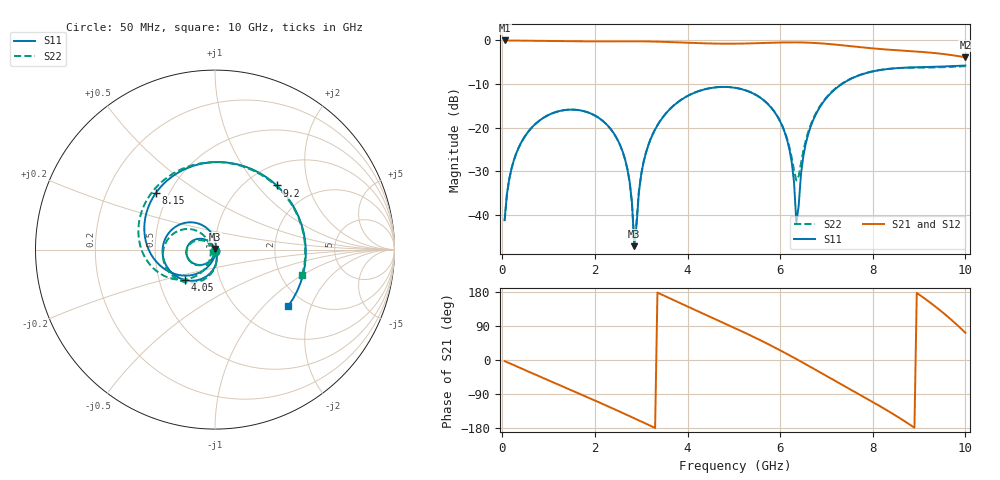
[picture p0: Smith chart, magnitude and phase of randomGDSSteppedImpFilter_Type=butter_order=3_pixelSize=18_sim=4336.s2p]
! freq	dB(S11)	phase(S11)	dB(S12)	phase(S12)
!  dB(S21)	phase(S21)	dB(S22)	phase(S22)
!S-par simulation data
#  GHz  S  DB  R 50
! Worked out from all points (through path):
!   200 points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, 50 MHz to 10 GHz, reference 50 ohm
!   highest |S21| = 0.00 dB at 50 MHz (marker M1); lowest = -3.9 dB at 10 GHz (marker M2)
!   group delay of S21, straight-line fit = 172 ps
!   lowest |S11| = -47.2 dB at 2.85 GHz (marker M3), VSWR 1.01, Z = 50.2 + j0.393 ohm
!   |S11| at or under -10 dB: start of sweep to 7.335 GHz
!   |S22| runs from -46.0 to -5.9 dB; largest |S21 - S12| = 0
!   S11 on the Smith chart (normalised r, x): 50 MHz: 1.00, -0.02; 4.05 GHz: 0.68, -0.24; 8.15 GHz: 0.42, +0.34; 9.2 GHz: 1.35, +1.28; 10 GHz: 1.63, -1.40
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0.05  -41.27 -92.1  -0.00 -2.8  -0.00 -2.8  -41.42 -90.4
0.2  -29.39 -100.9  -0.02 -10.9  -0.02 -10.9  -29.39 -100.7
0.5  -21.84 -118.0  -0.07 -27.1  -0.07 -27.1  -21.84 -117.1
1.75  -16.21 174.1  -0.21 -93.6  -0.21 -93.6  -16.21 177.4
2.6  -25.56 125.6  -0.18 -139.8  -0.18 -139.8  -25.60 134.6
2.75  -32.46 114.1  -0.18 -148.2  -0.18 -148.2  -32.52 131.1
2.85  -47.24 64.3  -0.19 -153.8  -0.19 -153.8  -45.98 176.5
3.05  -27.99 -74.5  -0.21 -165.1  -0.21 -165.1  -27.89 -78.6
3.4  -18.65 -96.8  -0.30 175.0  -0.30 175.0  -18.61 -94.8
4.05  -12.48 -134.5  -0.55 138.4  -0.55 138.4  -12.46 -129.3
5.05  -10.92 168.5  -0.74 82.7  -0.74 82.7  -10.90 178.0
6.05  -19.77 104.5  -0.47 22.3  -0.47 22.3  -19.64 128.8
6.25  -27.98 86.3  -0.44 9.2  -0.44 9.2  -26.91 135.1
6.35  -41.88 41.9  -0.45 2.5  -0.45 2.5  -32.15 176.4
6.5  -26.63 -97.3  -0.47 -7.6  -0.47 -7.6  -25.38 -120.2
6.7  -18.63 -115.5  -0.55 -21.3  -0.55 -21.3  -18.32 -118.0
7.4  -9.56 -168.0  -1.18 -69.6  -1.18 -69.6  -9.48 -156.9
8.15  -6.81 136.0  -1.96 -121.5  -1.96 -121.5  -6.79 154.7
8.35  -6.52 120.4  -2.13 -135.9  -2.13 -135.9  -6.52 141.0
9.2  -6.09 46.2  -2.76 155.1  -2.76 155.1  -6.22 72.9
9.65  -5.92 0.5  -3.29 111.1  -3.29 111.1  -6.08 26.0
10  -5.77 -37.6  -3.88 71.8  -3.88 71.8  -5.91 -16.2
